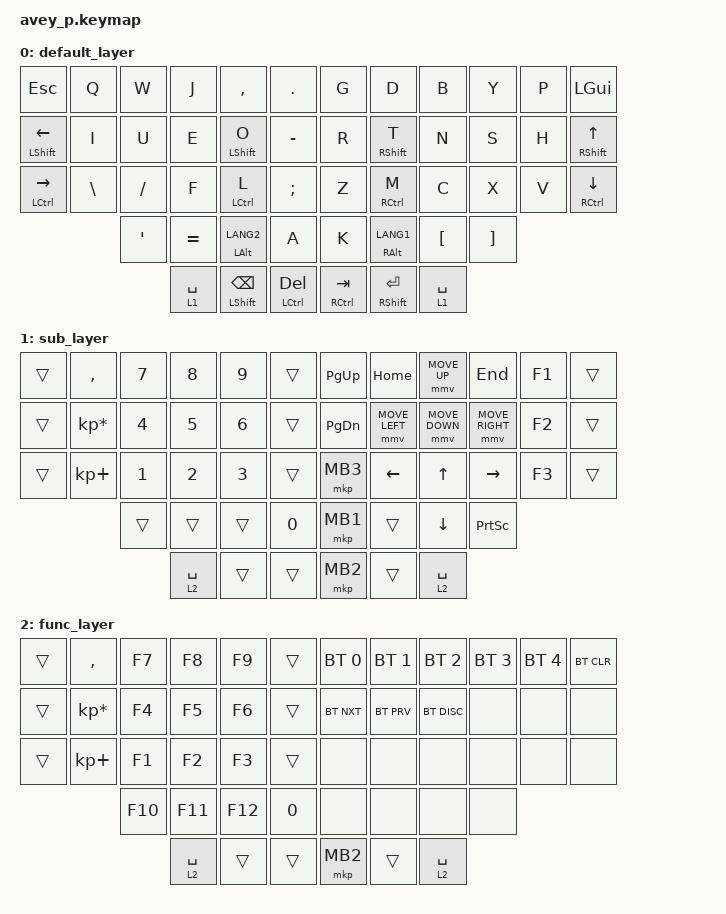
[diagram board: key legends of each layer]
/*
 * Copyright (c) 2020 The ZMK Contributors
 *
 * SPDX-License-Identifier: MIT
 */

#include <behaviors.dtsi>
#include <dt-bindings/zmk/keys.h>
#include <dt-bindings/zmk/bt.h>
#define ZMK_POINTING_DEFAULT_MOVE_VAL 1500  // default: 600
#define ZMK_POINTING_DEFAULT_SCRL_VAL 20    // default: 10
#include <dt-bindings/zmk/pointing.h>

&mt {
    flavor = "balanced";
    quick-tap-ms = <200>;
};

&lt {
    flavor = "balanced";
    quick-tap-ms = <200>;
};
&mmv {
    x-input-code = <INPUT_REL_X>;
    y-input-code = <INPUT_REL_Y>;
    time-to-max-speed-ms = <500>;
    acceleration-exponent = <1>;
};

/ {
    keymap {
        compatible = "zmk,keymap";

        default_layer {
// ------------------------------------------------------------------------------------------------------------
// |  ESC  |  Q  |  W  |  J   |  ,   |  .   |                   |  G   |  D    |  B    |  Y   |   P   |  WIN  |
// | SHIFT |  I  |  U  |  E   |  O   |  -   |                   |  R   |  T    |  N    |  S   |   H   | SHIFT |
// | CTRL  |  \  |  /  |  F   |  L   |  ;   |                   |  Z   |  M    |  C    |  X   |   V   | CTRL  |
//               | SQT | EQAL | ALT  |  A   |                   |  K   |  ALT  |  [    |  ]   |
// |LT1 SP |           | BKSP | DEL  |                                 | TAB   | ENT   |              | LT1 SP|
bindings = <
&kp ESC &kp Q &kp W &kp J &kp COMMA &kp DOT &kp G &kp D &kp B &kp Y &kp P &kp LGUI
&mt LSHFT LEFT &kp I &kp U &kp E &mt LSHFT O &kp MINUS &kp R &mt RSHFT T &kp N &kp S &kp H &mt RSHFT UP
&mt LCTRL RIGHT &kp BSLH &kp SLASH &kp F &mt LCTRL L &kp SEMI &kp Z &mt RCTRL M &kp C &kp X &kp V  &mt RCTRL DOWN
&kp SQT &kp EQUAL &mt LALT LANG2 &kp A &kp K &mt RALT LANG1 &kp LBKT &kp RBKT
&lt 1 SPACE &mt LSHFT BSPC &mt LCTRL DEL &mt RCTRL TAB &mt RSHFT ENTER &lt 1 SPACE

            >;
        };
        sub_layer {
// ------------------------------------------------------------------------------------------------------------
// |  ESC  |  ,  |  7  |  8   |  9   |  .   |                   |  PGUP|  HOME |  MUP  |  END | F1 |  WIN  |
// | SHIFT |  *  |  4  |  5   |  6   |  -   |                   |  PGDN|  MLEFT|  MDWN |MRIGHT| F2 | SHIFT |
// | CTRL  |  `  |  1  |  2   |  3   |  ;   |                   |  MBT3|  LEFT |  UP   |RIGHT | F3 | CTRL  |
//               | SQT | EQAL | ALT  |  0   |                   |  MBT1|  ALT  |  DOWN |PSCR  |
// |LT2 SP |           | BKSP | DEL  |                                 |  MBT2 | ENT   |              | LT2 SP|
bindings = <
&trans &kp COMMA &kp N7 &kp N8 &kp N9 &trans &kp PG_UP &kp HOME &mmv MOVE_UP &kp END &kp F1 &trans
&trans &kp KP_MULTIPLY &kp N4 &kp N5 &kp N6 &trans &kp PG_DN &mmv MOVE_LEFT &mmv MOVE_DOWN &mmv MOVE_RIGHT &kp F2 &trans
&trans &kp KP_PLUS &kp N1 &kp N2 &kp N3 &trans &mkp MB3 &kp LEFT &kp UP &kp RIGHT &kp F3 &trans
&trans &trans &trans &kp N0 &mkp MB1 &trans &kp DOWN &kp PSCRN
&lt 2 SPACE &trans &trans &mkp MB2 &trans &lt 2 SPACE
            >;
        };
        func_layer {
// ------------------------------------------------------------------------------------------------------------
// |  ESC  |  ,  |  F7  |  F8   |  F9   |  .   |                   |  BT_0|  BT_1 | BT_2  | BT_3 | BT_4  | BT_CL |
// | SHIFT |  *  |  F4  |  F5   |  F6   |  -   |                   |BT_Nex| BT_Prv| BT_Dis|note  | none  | none  |
// | CTRL  |  `  |  F1  |  F2   |  F3   |  ;   |                   |  none|  none |  none |none  | none  | none  |
//               |  F10 |  F11  |  F12  |  0   |                   |  none|  none |  none |none  |
// |LT2 SP |            | BKSP  | DEL   |                                 |  MBT2 | ENT   |              | LT2 SP|
bindings = <
&trans &kp COMMA &kp F7 &kp F8 &kp F9 &trans &bt BT_SEL 0 &bt BT_SEL 1 &bt BT_SEL 2 &bt BT_SEL 3 &bt BT_SEL 4 &bt BT_CLR
&trans &kp KP_MULTIPLY &kp F4 &kp F5 &kp F6 &trans &bt BT_NXT &bt BT_PRV &bt BT_DISC &none &none &none
&trans &kp KP_PLUS &kp F1 &kp F2 &kp F3 &trans  &none &none &none &none &none &none
&kp F10  &kp F11  &kp F12 &kp N0  &none &none &none &none
&lt 2 SPACE &trans &trans &mkp MB2 &trans &lt 2 SPACE
            >;
        };
    };
};
